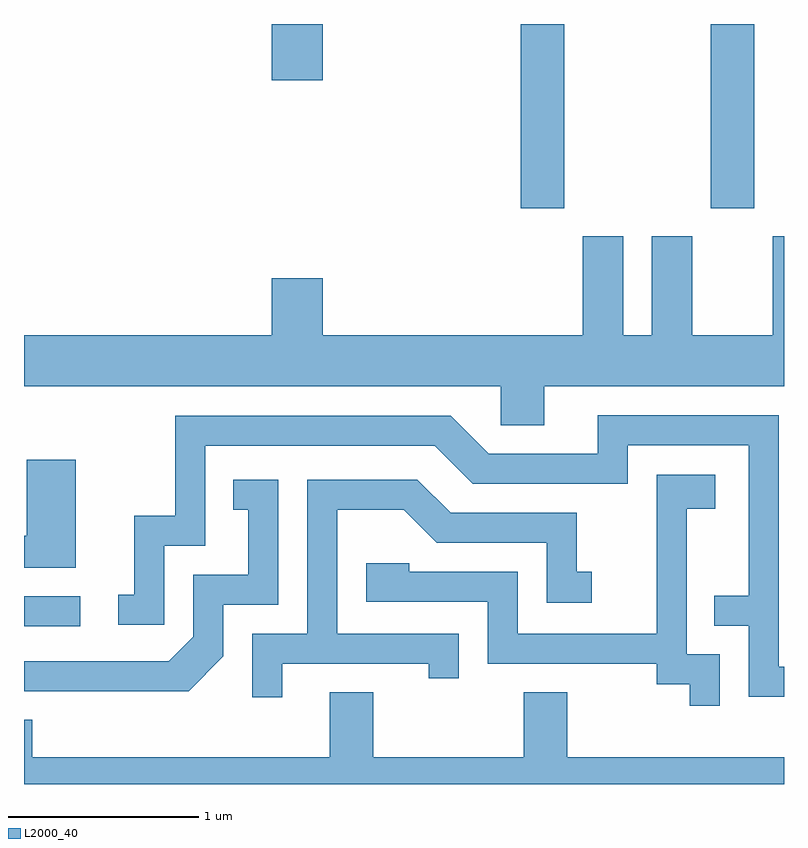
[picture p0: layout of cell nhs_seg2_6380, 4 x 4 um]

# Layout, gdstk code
import gdstk
lib = gdstk.Library(unit=1e-6, precision=1e-09)
def R(c, l, rs):  # rectangles x0, y0, x1, y1
    for r in rs: c.add(gdstk.rectangle(r[:2], r[2:], *l))
def P(c, l, *ps):  # polygons
    for p in ps: c.add(gdstk.Polygon(p, *l))
L2000_40 = (2000, 40)

nhs_seg2_6380 = lib.new_cell('nhs_seg2_6380')
R(nhs_seg2_6380, L2000_40, [(373.611,1022.631,373.908,1022.789), (376.226,1024.831,376.454,1025.802), (377.226,1024.831,377.454,1025.802), (374.916,1025.506,375.184,1025.802)])
P(nhs_seg2_6380, L2000_40, [(376.349,1023.896),(377.611,1023.896),(377.611,1024.684),(377.551,1024.684),(377.551,1024.164),(377.129,1024.164),(377.129,1024.684),(376.916,1024.684),(376.916,1024.164),(376.764,1024.164),(376.764,1024.684),(376.551,1024.684),(376.551,1024.164),(375.184,1024.164),(375.184,1024.464),(374.916,1024.464),(374.916,1024.164),(373.611,1024.164),(373.611,1023.896),(376.121,1023.896),(376.121,1023.691),(376.349,1023.691)],
  [(377.611,1022.419),(377.584,1022.419),(377.584,1023.744),(376.631,1023.744),(376.631,1023.539),(376.057,1023.539),(375.857,1023.739),(374.406,1023.739),(374.406,1023.214),(374.191,1023.214),(374.191,1022.799),(374.108,1022.799),(374.108,1022.641),(374.349,1022.641),(374.349,1023.056),(374.564,1023.056),(374.564,1023.581),(375.774,1023.581),(375.974,1023.381),(376.789,1023.381),(376.789,1023.586),(377.426,1023.586),(377.426,1022.794),(377.243,1022.794),(377.243,1022.636),(377.426,1022.636),(377.426,1022.261),(377.611,1022.261)],
  [(373.884,1023.509),(373.626,1023.509),(373.626,1023.109),(373.611,1023.109),(373.611,1022.941),(373.884,1022.941)],
  [(377.274,1022.484),(377.099,1022.484),(377.099,1023.251),(377.249,1023.251),(377.249,1023.429),(376.941,1023.429),(376.941,1022.594),(376.209,1022.594),(376.209,1022.919),(375.639,1022.919),(375.639,1022.964),(375.411,1022.964),(375.411,1022.761),(376.051,1022.761),(376.051,1022.436),(376.941,1022.436),(376.941,1022.326),(377.116,1022.326),(377.116,1022.213),(377.274,1022.213)],
  [(374.659,1022.474),(374.659,1022.746),(374.949,1022.746),(374.949,1023.404),(374.713,1023.404),(374.713,1023.246),(374.791,1023.246),(374.791,1022.904),(374.501,1022.904),(374.501,1022.577),(374.374,1022.449),(373.611,1022.449),(373.611,1022.291),(374.477,1022.291)],
  [(374.969,1022.436),(375.741,1022.436),(375.741,1022.358),(375.899,1022.358),(375.899,1022.594),(375.259,1022.594),(375.259,1023.246),(375.609,1023.246),(375.784,1023.071),(376.361,1023.071),(376.361,1022.756),(376.598,1022.756),(376.598,1022.919),(376.519,1022.919),(376.519,1023.229),(375.857,1023.229),(375.682,1023.404),(375.101,1023.404),(375.101,1022.594),(374.811,1022.594),(374.811,1022.258),(374.969,1022.258)],
  [(377.611,1021.944),(376.469,1021.944),(376.469,1022.284),(376.241,1022.284),(376.241,1021.944),(375.449,1021.944),(375.449,1022.284),(375.221,1022.284),(375.221,1021.944),(373.654,1021.944),(373.654,1022.139),(373.611,1022.139),(373.611,1021.802),(377.611,1021.802)])

lib.write_gds('nhs_seg2_6380.gds')
